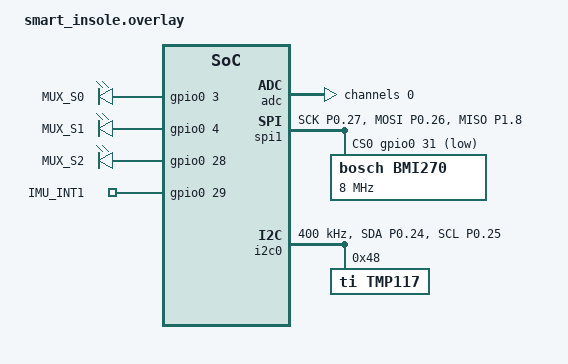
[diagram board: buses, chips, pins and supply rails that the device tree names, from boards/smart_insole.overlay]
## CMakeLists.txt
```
# SPDX-License-Identifier: Apache-2.0
# Smart Insole Fall Prevention System Firmware
# Target: nrf52840dk_nrf52840

cmake_minimum_required(VERSION 3.20.0)

find_package(Zephyr REQUIRED HINTS $ENV{ZEPHYR_BASE})
project(smart_insole)

# Recursively collect all source files from src/
file(GLOB_RECURSE app_sources src/*.c)

target_sources(app PRIVATE ${app_sources})

target_include_directories(app PRIVATE
    src
    src/sensors
    src/ble
    src/processing
    src/power
)
```

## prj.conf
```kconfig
# Smart Insole Fall Prevention System - Zephyr Configuration
# Target: nRF52840

# -----------------------------------------------
# BLE Configuration
# -----------------------------------------------
CONFIG_BT=y
CONFIG_BT_PERIPHERAL=y
CONFIG_BT_GATT_DYNAMIC_DB=y
CONFIG_BT_DEVICE_NAME="SmartInsole"
CONFIG_BT_L2CAP_TX_MTU=247
CONFIG_BT_BUF_ACL_RX_SIZE=251
CONFIG_BT_BUF_ACL_TX_SIZE=251
CONFIG_BT_CTLR_DATA_LENGTH_MAX=251
CONFIG_BT_ATT_TX_COUNT=4
CONFIG_BT_CONN_TX_MAX=4
CONFIG_BT_MAX_CONN=1
CONFIG_BT_GAP_AUTO_UPDATE_CONN_PARAMS=y
CONFIG_BT_GATT_CLIENT=y

# -----------------------------------------------
# Peripheral Drivers
# -----------------------------------------------
CONFIG_ADC=y
CONFIG_SPI=y
CONFIG_I2C=y
CONFIG_GPIO=y

# -----------------------------------------------
# Power Management
# -----------------------------------------------
CONFIG_PM=y
CONFIG_PM_DEVICE=y

# -----------------------------------------------
# Logging
# -----------------------------------------------
CONFIG_LOG=y
CONFIG_LOG_DEFAULT_LEVEL=3
CONFIG_LOG_BUFFER_SIZE=2048

# -----------------------------------------------
# Floating Point Support
# -----------------------------------------------
CONFIG_FPU=y
CONFIG_NEWLIB_LIBC=y

# -----------------------------------------------
# Stack / Thread Configuration
# -----------------------------------------------
CONFIG_MAIN_STACK_SIZE=4096
CONFIG_SYSTEM_WORKQUEUE_STACK_SIZE=2048
CONFIG_BT_RX_STACK_SIZE=4096
CONFIG_ISR_STACK_SIZE=2048

# -----------------------------------------------
# Heap
# -----------------------------------------------
CONFIG_HEAP_MEM_POOL_SIZE=4096

# -----------------------------------------------
# Miscellaneous
# -----------------------------------------------
CONFIG_ASSERT=y
CONFIG_REBOOT=y
CONFIG_RING_BUFFER=y
```

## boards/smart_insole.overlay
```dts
/* Smart Insole Device Tree Overlay for nRF52840 */

/ {
    aliases {
        spi-imu = &spi1;
        i2c-temp = &i2c0;
    };

    /* GPIO pins for CD74HC4051 analog MUX select lines */
    mux_select: mux-select-pins {
        compatible = "gpio-leds";
        mux_s0: mux_s0 {
            gpios = <&gpio0 3 GPIO_ACTIVE_HIGH>;  /* P0.03 - S0 */
            label = "MUX_S0";
        };
        mux_s1: mux_s1 {
            gpios = <&gpio0 4 GPIO_ACTIVE_HIGH>;  /* P0.04 - S1 */
            label = "MUX_S1";
        };
        mux_s2: mux_s2 {
            gpios = <&gpio0 28 GPIO_ACTIVE_HIGH>; /* P0.28 - S2 */
            label = "MUX_S2";
        };
    };

    /* IMU interrupt pin */
    imu_int: imu-interrupt {
        compatible = "gpio-keys";
        imu_int1: imu_int1 {
            gpios = <&gpio0 29 (GPIO_PULL_DOWN | GPIO_ACTIVE_HIGH)>; /* P0.29 - INT1 */
            label = "IMU_INT1";
        };
    };
};

/* ADC for FSR input via MUX output on AIN0 (P0.02) */
&adc {
    status = "okay";
    #address-cells = <1>;
    #size-cells = <0>;

    channel@0 {
        reg = <0>;
        zephyr,gain = "ADC_GAIN_1_6";
        zephyr,reference = "ADC_REF_INTERNAL";
        zephyr,acquisition-time = <ADC_ACQ_TIME(ADC_ACQ_TIME_MICROSECONDS, 40)>;
        zephyr,input-positive = <NRF_SAADC_AIN0>; /* P0.02 */
        zephyr,resolution = <12>;
    };
};

/* SPI1 for BMI270 IMU */
&spi1 {
    status = "okay";
    compatible = "nordic,nrf-spim";
    pinctrl-0 = <&spi1_default>;
    pinctrl-1 = <&spi1_sleep>;
    pinctrl-names = "default", "sleep";
    cs-gpios = <&gpio0 31 GPIO_ACTIVE_LOW>; /* P0.31 - CS */

    bmi270: bmi270@0 {
        compatible = "bosch,bmi270";
        reg = <0>;
        spi-max-frequency = <8000000>;
        label = "BMI270";
    };
};

/* I2C0 for TMP117 Temperature Sensor */
&i2c0 {
    status = "okay";
    compatible = "nordic,nrf-twim";
    pinctrl-0 = <&i2c0_default>;
    pinctrl-1 = <&i2c0_sleep>;
    pinctrl-names = "default", "sleep";
    clock-frequency = <I2C_BITRATE_FAST>;

    tmp117: tmp117@48 {
        compatible = "ti,tmp117";
        reg = <0x48>;
        label = "TMP117";
    };
};

/* Pin control for SPI1 */
&pinctrl {
    spi1_default: spi1_default {
        group1 {
            psels = <NRF_PSEL(SPIM_SCK, 0, 27)>,   /* P0.27 - SCK  */
                    <NRF_PSEL(SPIM_MOSI, 0, 26)>,  /* P0.26 - MOSI */
                    <NRF_PSEL(SPIM_MISO, 1, 8)>;   /* P1.08 - MISO */
        };
    };

    spi1_sleep: spi1_sleep {
        group1 {
            psels = <NRF_PSEL(SPIM_SCK, 0, 27)>,
                    <NRF_PSEL(SPIM_MOSI, 0, 26)>,
                    <NRF_PSEL(SPIM_MISO, 1, 8)>;
            low-power-enable;
        };
    };

    i2c0_default: i2c0_default {
        group1 {
            psels = <NRF_PSEL(TWIM_SDA, 0, 24)>,  /* P0.24 - SDA */
                    <NRF_PSEL(TWIM_SCL, 0, 25)>;   /* P0.25 - SCL */
        };
    };

    i2c0_sleep: i2c0_sleep {
        group1 {
            psels = <NRF_PSEL(TWIM_SDA, 0, 24)>,
                    <NRF_PSEL(TWIM_SCL, 0, 25)>;
            low-power-enable;
        };
    };
};
```

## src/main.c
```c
/*
 * Smart Insole Fall Prevention System - Main Entry Point
 *
 * Initializes all subsystems and creates three worker threads:
 *   1. sensor_thread  (priority 7)  - 100Hz sensor sampling
 *   2. ble_thread     (priority 8)  - 20Hz BLE notification
 *   3. power_thread   (priority 10) - 1Hz battery & sleep management
 */

#include <zephyr/kernel.h>
#include <zephyr/logging/log.h>
#include <zephyr/sys/reboot.h>

#include "sensors/sensor_manager.h"
#include "ble/ble_manager.h"
#include "ble/ble_service.h"
#include "power/power_manager.h"

LOG_MODULE_REGISTER(main, CONFIG_LOG_DEFAULT_LEVEL);

/* ---------------------------------------------------------------------------
 * Thread stack sizes & priorities
 * -------------------------------------------------------------------------*/
#define SENSOR_THREAD_STACK_SIZE  2048
#define BLE_THREAD_STACK_SIZE     2048
#define POWER_THREAD_STACK_SIZE   1024

#define SENSOR_THREAD_PRIORITY  7
#define BLE_THREAD_PRIORITY     8
#define POWER_THREAD_PRIORITY   10

K_THREAD_STACK_DEFINE(sensor_thread_stack, SENSOR_THREAD_STACK_SIZE);
K_THREAD_STACK_DEFINE(ble_thread_stack, BLE_THREAD_STACK_SIZE);
K_THREAD_STACK_DEFINE(power_thread_stack, POWER_THREAD_STACK_SIZE);

static struct k_thread sensor_thread_data;
static struct k_thread ble_thread_data;
static struct k_thread power_thread_data;

/* ---------------------------------------------------------------------------
 * Thread entry points
 * -------------------------------------------------------------------------*/

/**
 * Sensor thread - runs the sensor manager sampling loop at 100 Hz (10 ms).
 */
static void sensor_thread_entry(void *p1, void *p2, void *p3)
{
    ARG_UNUSED(p1);
    ARG_UNUSED(p2);
    ARG_UNUSED(p3);

    LOG_INF("Sensor thread started");

    while (1) {
        sensor_manager_sample();
        k_sleep(K_MSEC(10)); /* 100 Hz */
    }
}

/**
 * BLE thread - dequeues gait data packets and sends BLE notifications at ~20 Hz.
 */
static void ble_thread_entry(void *p1, void *p2, void *p3)
{
    ARG_UNUSED(p1);
    ARG_UNUSED(p2);
    ARG_UNUSED(p3);

    LOG_INF("BLE thread started");

    struct gait_data_packet pkt;

    while (1) {
        /* Block until a packet is available in the message queue */
        int ret = sensor_manager_get_packet(&pkt);

        if (ret == 0 && ble_is_connected()) {
            gait_service_notify(&pkt);
        }
        /* If not connected, discard the packet silently */
    }
}

/**
 * Power thread - monitors battery at 1 Hz and manages sleep.
 */
static void power_thread_entry(void *p1, void *p2, void *p3)
{
    ARG_UNUSED(p1);
    ARG_UNUSED(p2);
    ARG_UNUSED(p3);

    LOG_INF("Power thread started");

    while (1) {
        /* Update global battery percentage (consumed by sensor_manager) */
        power_get_battery_pct();

        /* Check if the device has been idle long enough to enter deep sleep */
        power_check_idle();

        k_sleep(K_MSEC(1000)); /* 1 Hz */
    }
}

/* ---------------------------------------------------------------------------
 * main
 * -------------------------------------------------------------------------*/
int main(void)
{
    int ret;

    LOG_INF("Smart Insole firmware starting...");

    /* ---- Initialize subsystems ---- */
    ret = sensor_manager_init();
    if (ret < 0) {
        LOG_ERR("Sensor manager init failed: %d", ret);
    }

    ret = power_manager_init();
    if (ret < 0) {
        LOG_ERR("Power manager init failed: %d", ret);
    }

    ret = ble_manager_init();
    if (ret < 0) {
        LOG_ERR("BLE manager init failed: %d", ret);
        /* Continue anyway; sensors can still log locally */
    }

    ret = gait_service_init();
    if (ret < 0) {
        LOG_ERR("GATT service init failed: %d", ret);
    }

    /* ---- Create worker threads ---- */
    k_thread_create(&sensor_thread_data,
                     sensor_thread_stack,
                     K_THREAD_STACK_SIZEOF(sensor_thread_stack),
                     sensor_thread_entry,
                     NULL, NULL, NULL,
                     SENSOR_THREAD_PRIORITY, 0, K_NO_WAIT);
    k_thread_name_set(&sensor_thread_data, "sensor_thread");

    k_thread_create(&ble_thread_data,
                     ble_thread_stack,
                     K_THREAD_STACK_SIZEOF(ble_thread_stack),
                     ble_thread_entry,
                     NULL, NULL, NULL,
                     BLE_THREAD_PRIORITY, 0, K_NO_WAIT);
    k_thread_name_set(&ble_thread_data, "ble_thread");

    k_thread_create(&power_thread_data,
                     power_thread_stack,
                     K_THREAD_STACK_SIZEOF(power_thread_stack),
                     power_thread_entry,
                     NULL, NULL, NULL,
                     POWER_THREAD_PRIORITY, 0, K_NO_WAIT);
    k_thread_name_set(&power_thread_data, "power_thread");

    /* ---- Start BLE advertising ---- */
    ret = ble_manager_start_advertising();
    if (ret < 0) {
        LOG_ERR("Advertising start failed: %d", ret);
    } else {
        LOG_INF("BLE advertising started");
    }

    LOG_INF("Smart Insole firmware initialised – entering idle");

    /* Main thread has nothing left to do; let scheduler run workers. */
    return 0;
}
```
